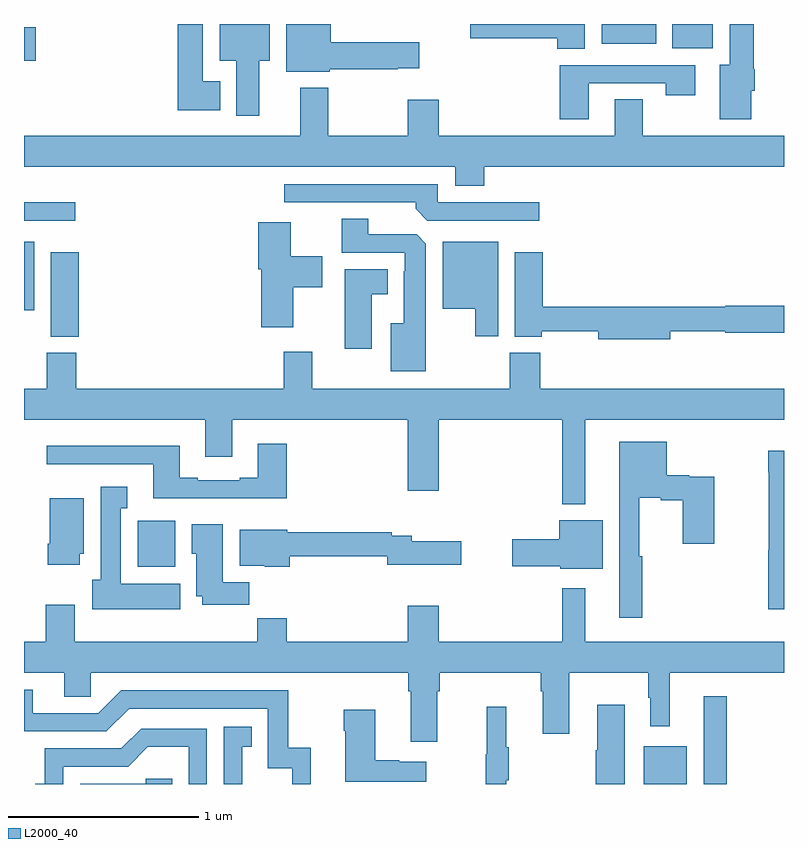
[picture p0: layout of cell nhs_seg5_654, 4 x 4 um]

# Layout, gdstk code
import gdstk
lib = gdstk.Library(unit=1e-6, precision=1e-09)
def R(c, l, rs):  # rectangles x0, y0, x1, y1
    for r in rs: c.add(gdstk.rectangle(r[:2], r[2:], *l))
def P(c, l, *ps):  # polygons
    for p in ps: c.add(gdstk.Polygon(p, *l))
L2000_40 = (2000, 40)

nhs_seg5_654 = lib.new_cell('nhs_seg5_654')
R(nhs_seg5_654, L2000_40, [(154.262,898.799,154.489,898.999), (154.577,898.799,154.699,899.26), (151.598,899.942,151.795,900.184), (151.142,901.153,151.289,901.597), (151,901.292,151.054,901.654), (151,901.764,151.27,901.86), (151,902.606,151.063,902.783), (154.412,902.672,154.624,902.799), (154.04,902.696,154.327,902.799)])
P(nhs_seg5_654, L2000_40, [(152.239,902.606),(152.293,902.606),(152.293,902.799),(152.03,902.799),(152.03,902.606),(152.117,902.606),(152.117,902.316),(152.239,902.316)],
  [(154.828,902.448),(154.846,902.448),(154.846,902.562),(154.841,902.562),(154.841,902.799),(154.715,902.799),(154.715,902.584),(154.661,902.584),(154.661,902.298),(154.828,902.298)],
  [(152.032,902.497),(151.942,902.497),(151.942,902.799),(151.808,902.799),(151.808,902.345),(152.032,902.345)],
  [(153.952,902.799),(153.348,902.799),(153.348,902.723),(153.806,902.723),(153.806,902.668),(153.952,902.668)],
  [(152.61,902.56),(152.966,902.56),(152.966,902.567),(153.079,902.567),(153.079,902.702),(152.614,902.702),(152.614,902.799),(152.381,902.799),(152.381,902.549),(152.61,902.549)],
  [(153.973,902.487),(154.378,902.487),(154.378,902.424),(154.534,902.424),(154.534,902.583),(153.821,902.583),(153.821,902.298),(153.973,902.298)],
  [(153.422,902.048),(155,902.048),(155,902.212),(154.257,902.212),(154.257,902.402),(154.109,902.402),(154.109,902.212),(153.184,902.212),(153.184,902.401),(153.02,902.401),(153.02,902.212),(152.601,902.212),(152.601,902.464),(152.453,902.464),(152.453,902.212),(151,902.212),(151,902.048),(153.269,902.048),(153.269,901.949),(153.422,901.949)],
  [(153.712,901.86),(153.177,901.86),(153.177,901.956),(152.37,901.956),(152.37,901.86),(153.062,901.86),(153.062,901.826),(153.123,901.764),(153.712,901.764)],
  [(153.115,901.643),(153.066,901.692),(152.812,901.692),(152.812,901.775),(152.672,901.775),(152.672,901.596),(153.003,901.596),(153.003,901.499),(152.999,901.499),(152.999,901.225),(152.93,901.225),(152.93,900.971),(153.115,900.971)],
  [(152.416,901.414),(152.569,901.414),(152.569,901.576),(152.404,901.576),(152.404,901.756),(152.234,901.756),(152.234,901.507),(152.249,901.507),(152.249,901.203),(152.416,901.203)],
  [(153.496,901.654),(153.203,901.654),(153.203,901.301),(153.374,901.301),(153.374,901.155),(153.496,901.155)],
  [(154.402,901.182),(154.692,901.182),(154.692,901.174),(155,901.174),(155,901.316),(154.692,901.316),(154.692,901.31),(153.731,901.31),(153.731,901.597),(153.584,901.597),(153.584,901.154),(153.726,901.154),(153.726,901.182),(154.022,901.182),(154.022,901.139),(154.402,901.139)],
  [(152.83,901.376),(152.914,901.376),(152.914,901.507),(152.687,901.507),(152.687,901.089),(152.83,901.089)],
  [(153.955,900.716),(155,900.716),(155,900.88),(153.716,900.88),(153.716,901.069),(153.556,901.069),(153.556,900.88),(152.518,900.88),(152.518,901.075),(152.366,901.075),(152.366,900.88),(151.274,900.88),(151.274,901.068),(151.121,901.068),(151.121,900.88),(151,900.88),(151,900.716),(151.955,900.716),(151.955,900.522),(152.095,900.522),(152.095,900.716),(153.02,900.716),(153.02,900.342),(153.184,900.342),(153.184,900.716),(153.834,900.716),(153.834,900.272),(153.955,900.272)],
  [(154.255,899.997),(154.237,899.997),(154.237,900.305),(154.352,900.305),(154.352,900.293),(154.466,900.293),(154.466,900.063),(154.632,900.063),(154.632,900.415),(154.5,900.415),(154.5,900.423),(154.384,900.423),(154.384,900.601),(154.133,900.601),(154.133,899.673),(154.255,899.673)],
  [(152.384,900.589),(152.231,900.589),(152.231,900.412),(152.135,900.412),(152.135,900.399),(151.915,900.399),(151.915,900.412),(151.819,900.412),(151.819,900.58),(151.119,900.58),(151.119,900.483),(151.679,900.483),(151.679,900.302),(152.384,900.302)],
  [(155,900.553),(154.916,900.553),(154.916,900.44),(154.921,900.44),(154.921,900.03),(154.916,900.03),(154.916,899.718),(155,899.718)],
  [(151.822,899.854),(151.51,899.854),(151.51,900.251),(151.543,900.251),(151.543,900.364),(151.403,900.364),(151.403,899.874),(151.358,899.874),(151.358,899.72),(151.822,899.72)],
  [(151.294,900.012),(151.315,900.012),(151.315,900.304),(151.136,900.304),(151.136,900.064),(151.124,900.064),(151.124,899.952),(151.294,899.952)],
  [(154.045,900.187),(153.818,900.187),(153.818,900.086),(153.57,900.086),(153.57,899.944),(153.822,899.944),(153.822,899.933),(154.045,899.933)],
  [(152.186,899.86),(152.047,899.86),(152.047,900.166),(151.883,900.166),(151.883,900.012),(151.907,900.012),(151.907,899.786),(151.937,899.786),(151.937,899.742),(152.186,899.742)],
  [(152.399,899.997),(152.912,899.997),(152.912,899.954),(153.301,899.954),(153.301,900.076),(153.04,900.076),(153.04,900.105),(152.936,900.105),(152.936,900.125),(152.386,900.125),(152.386,900.136),(152.135,900.136),(152.135,899.948),(152.268,899.948),(152.268,899.942),(152.399,899.942)],
  [(153.175,899.288),(153.188,899.288),(153.188,899.384),(153.719,899.384),(153.719,899.288),(153.731,899.288),(153.731,899.064),(153.871,899.064),(153.871,899.384),(154.285,899.384),(154.285,899.252),(154.295,899.252),(154.295,899.103),(154.399,899.103),(154.399,899.384),(155,899.384),(155,899.548),(153.955,899.548),(153.955,899.83),(153.834,899.83),(153.834,899.548),(153.184,899.548),(153.184,899.737),(153.02,899.737),(153.02,899.548),(152.384,899.548),(152.384,899.672),(152.227,899.672),(152.227,899.548),(151.267,899.548),(151.267,899.743),(151.115,899.743),(151.115,899.548),(151,899.548),(151,899.384),(151.211,899.384),(151.211,899.257),(151.35,899.257),(151.35,899.384),(153.023,899.384),(153.023,899.288),(153.035,899.288),(153.035,899.022),(153.175,899.022)],
  [(152.51,898.99),(152.392,898.99),(152.392,899.292),(151.512,899.292),(151.392,899.172),(151.045,899.172),(151.045,899.295),(151,899.295),(151,899.076),(151.434,899.076),(151.554,899.196),(152.283,899.196),(152.283,898.881),(152.412,898.881),(152.412,898.799),(152.51,898.799)],
  [(154.162,899.215),(154.016,899.215),(154.016,898.976),(154.009,898.976),(154.009,898.799),(154.162,898.799)],
  [(153.539,898.819),(153.55,898.819),(153.55,898.993),(153.539,898.993),(153.539,899.206),(153.436,899.206),(153.436,898.956),(153.429,898.956),(153.429,898.799),(153.539,898.799)],
  [(153.118,898.915),(152.975,898.915),(152.975,898.925),(152.848,898.925),(152.848,899.191),(152.683,899.191),(152.683,899.078),(152.69,899.078),(152.69,898.811),(153.118,898.811)],
  [(152.149,898.995),(152.198,898.995),(152.198,899.101),(152.052,899.101),(152.052,898.799),(152.149,898.799)],
  [(151.206,898.89),(151.548,898.89),(151.652,898.994),(151.866,898.994),(151.866,898.799),(151.962,898.799),(151.962,899.091),(151.616,899.091),(151.511,898.986),(151.108,898.986),(151.108,898.801),(151.059,898.801),(151.059,898.799),(151.206,898.799)],
  [(151.781,898.827),(151.641,898.827),(151.641,898.8),(151.296,898.8),(151.296,898.799),(151.781,898.799)])

lib.write_gds('nhs_seg5_654.gds')
